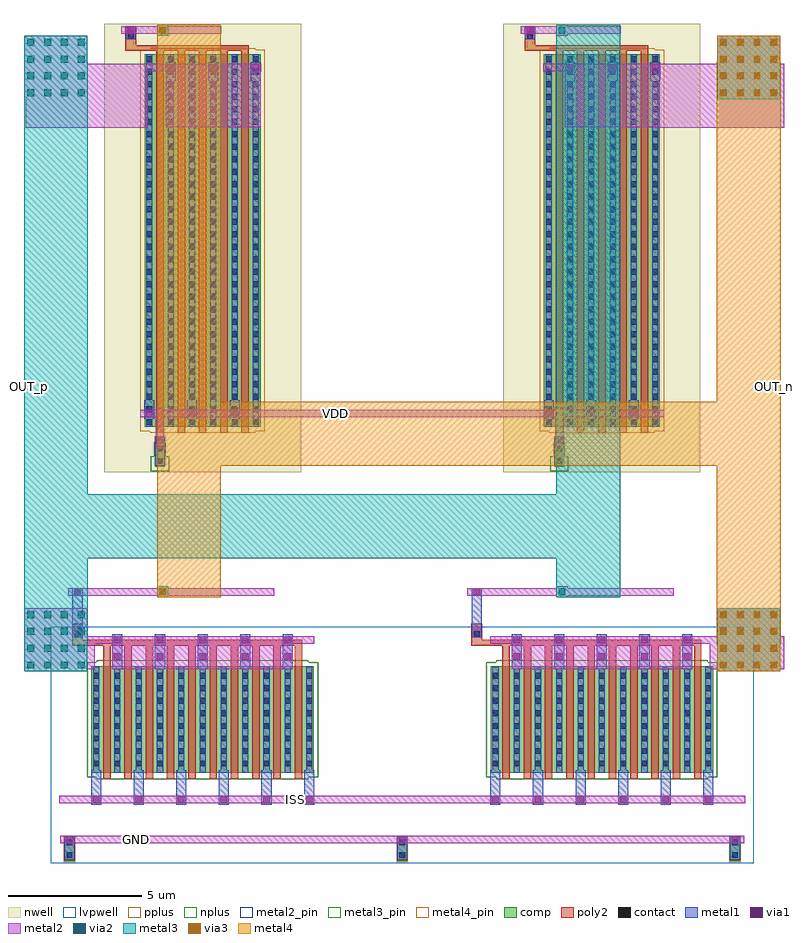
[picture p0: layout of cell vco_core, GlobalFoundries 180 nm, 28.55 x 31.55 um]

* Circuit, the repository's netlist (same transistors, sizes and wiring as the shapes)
.subckt vco_core VDD OUT_p OUT_n ISS GND
XM1 OUT_p OUT_n ISS GND nfet_03v3 L=0.28u W=40u nf=1
XM4 OUT_n OUT_p ISS GND nfet_03v3 L=0.28u W=40u nf=1
XM2 OUT_p OUT_n VDD VDD pfet_03v3 L=0.28u W=70u nf=1
XM3 OUT_n OUT_p VDD VDD pfet_03v3 L=0.28u W=70u nf=1
.ends

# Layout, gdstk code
import gdstk
lib = gdstk.Library(unit=1e-6, precision=1e-09)
def R(c, l, rs):  # rectangles x0, y0, x1, y1
    for r in rs: c.add(gdstk.rectangle(r[:2], r[2:], *l))
def A(c, l, x, y, w, h, nx, ny, dx, dy):  # array of equal rectangles
    R(c, l, [(x+i*dx, y+j*dy, x+i*dx+w, y+j*dy+h) for i in range(nx) for j in range(ny)])
nwell = (21, 0)
comp = (22, 0)
poly2 = (30, 0)
pplus = (31, 0)
nplus = (32, 0)
contact = (33, 0)
metal1 = (34, 0)
via1 = (35, 0)
metal2 = (36, 0)
metal2_pin = (36, 10)
via2 = (38, 0)
via3 = (40, 0)
metal3 = (42, 0)
metal3_pin = (42, 10)
metal4 = (46, 0)
metal4_pin = (46, 10)
lvpwell = (204, 0)

vco_core = lib.new_cell('vco_core')
R(vco_core, nwell, [(-3.7,9.3,3.7,26.15), (11.3,9.3,18.7,26.15)])
A(vco_core, comp, -5.18, -5.3, 0.36, 0.9, 3, 1, 12.5, 0)
R(vco_core, comp, [(-4.18,-2,4.18,2), (10.82,-2,19.18,2), (-1.78,9.5,-1.42,10.4), (13.22,9.5,13.58,10.4), (-2.18,11,2.18,25), (12.82,11,17.18,25)])
A(vco_core, poly2, -3.74, -2.22, 0.28, 5, 10, 1, 0.8, 0)
A(vco_core, poly2, 11.26, -2.22, 0.28, 5, 10, 1, 0.8, 0)
A(vco_core, poly2, -1.74, 10.78, 0.28, 14.34, 5, 1, 0.8, 0)
A(vco_core, poly2, 13.26, 10.78, 0.28, 14.34, 5, 1, 0.8, 0)
R(vco_core, poly2, [(-4.9,2.78,3.74,3), (10.1,2.78,18.74,3), (-4.9,3,-4.5,3.6), (10.1,3,10.5,3.6), (-2.9,25.12,1.74,25.34), (12.1,25.12,16.74,25.34), (-2.9,25.34,-2.5,26.04), (12.1,25.34,12.5,26.04)])
A(vco_core, pplus, -5.21, -5.33, 0.42, 0.96, 3, 1, 12.5, 0)
R(vco_core, pplus, [(-1.97,10.77,1.97,10.84), (13.03,10.77,16.97,10.84), (-2.34,10.84,2.34,25.16), (12.66,10.84,17.34,25.16), (-1.97,25.16,1.97,25.23), (13.03,25.16,16.97,25.23)])
R(vco_core, nplus, [(-3.97,-2.23,3.97,-2.16), (11.03,-2.23,18.97,-2.16), (-4.34,-2.16,4.34,2.16), (10.66,-2.16,19.34,2.16), (-3.97,2.16,3.97,2.23), (11.03,2.16,18.97,2.23), (-1.94,9.34,-1.26,9.89), (13.06,9.34,13.74,9.89), (-1.81,9.89,-1.39,10.43), (13.19,9.89,13.61,10.43)])
A(vco_core, contact, -5.11, -5.195, 0.22, 0.22, 3, 2, 12.5, 0.47)
A(vco_core, contact, -4.11, -1.755, 0.22, 0.22, 11, 8, 0.8, 0.47)
A(vco_core, contact, 10.89, -1.755, 0.22, 0.22, 11, 8, 0.8, 0.47)
A(vco_core, contact, -2.11, 11.075, 0.22, 0.22, 6, 30, 0.8, 0.47)
A(vco_core, contact, 12.89, 11.075, 0.22, 0.22, 6, 30, 0.8, 0.47)
R(vco_core, contact, [(-4.81,3.105,-4.59,3.325), (10.19,3.105,10.41,3.325), (-1.71,9.605,-1.49,9.825), (13.29,9.605,13.51,9.825), (-1.71,10.075,-1.49,10.295), (13.29,10.075,13.51,10.295), (-2.81,25.565,-2.59,25.785), (12.19,25.565,12.41,25.785)])
A(vco_core, metal1, -5.19, -5.265, 0.38, 0.905, 3, 1, 12.5, 0)
A(vco_core, metal1, -4.19, -3.2, 0.38, 1.3, 6, 1, 1.6, 0)
A(vco_core, metal1, 10.81, -3.2, 0.38, 1.3, 6, 1, 1.6, 0)
A(vco_core, metal1, -3.315, -1.99, 0.23, 3.89, 5, 1, 1.6, 0)
A(vco_core, metal1, 11.685, -1.99, 0.23, 3.89, 5, 1, 1.6, 0)
A(vco_core, metal1, -4.115, -1.9, 0.23, 3.89, 6, 1, 1.6, 0)
A(vco_core, metal1, 10.885, -1.9, 0.23, 3.89, 6, 1, 1.6, 0)
A(vco_core, metal1, -3.39, 1.9, 0.38, 1.3, 5, 1, 1.6, 0)
A(vco_core, metal1, 11.61, 1.9, 0.38, 1.3, 5, 1, 1.6, 0)
A(vco_core, metal1, -2.115, 11.01, 0.23, 0.29, 3, 1, 1.6, 0)
A(vco_core, metal1, -1.315, 11.01, 0.23, 12.99, 3, 1, 1.6, 0)
A(vco_core, metal1, 12.885, 11.01, 0.23, 0.29, 3, 1, 1.6, 0)
A(vco_core, metal1, 13.685, 11.01, 0.23, 12.99, 3, 1, 1.6, 0)
A(vco_core, metal1, -2.19, 11.3, 0.38, 0.7, 3, 1, 1.6, 0)
A(vco_core, metal1, 12.81, 11.3, 0.38, 0.7, 3, 1, 1.6, 0)
A(vco_core, metal1, -2.115, 12, 0.23, 12.99, 3, 1, 1.6, 0)
A(vco_core, metal1, 12.885, 12, 0.23, 12.99, 3, 1, 1.6, 0)
A(vco_core, metal1, -1.39, 24, 0.38, 0.7, 3, 1, 1.6, 0)
A(vco_core, metal1, 13.61, 24, 0.38, 0.7, 3, 1, 1.6, 0)
A(vco_core, metal1, -1.315, 24.7, 0.23, 0.29, 3, 1, 1.6, 0)
A(vco_core, metal1, 13.685, 24.7, 0.23, 0.29, 3, 1, 1.6, 0)
R(vco_core, metal1, [(-4.89,3.1,-4.51,4.94), (10.11,3.1,10.49,4.94), (-1.79,9.535,-1.41,10.64), (13.21,9.535,13.59,10.64), (-2.89,25.56,-2.51,26.04), (12.11,25.56,12.49,26.04)])
A(vco_core, via1, -5.13, -4.63, 0.26, 0.26, 3, 1, 12.5, 0)
A(vco_core, via1, -4.13, -3.13, 0.26, 0.26, 6, 1, 1.6, 0)
A(vco_core, via1, 10.87, -3.13, 0.26, 0.26, 6, 1, 1.6, 0)
A(vco_core, via1, -3.33, 2.24, 0.26, 0.26, 5, 2, 1.6, 0.63)
A(vco_core, via1, 11.67, 2.24, 0.26, 0.26, 5, 2, 1.6, 0.63)
A(vco_core, via1, -2.13, 11.37, 0.26, 0.26, 3, 1, 1.6, 0)
A(vco_core, via1, 12.87, 11.37, 0.26, 0.26, 3, 1, 1.6, 0)
A(vco_core, via1, -1.33, 24.37, 0.26, 0.26, 3, 1, 1.6, 0)
A(vco_core, via1, 13.67, 24.37, 0.26, 0.26, 3, 1, 1.6, 0)
R(vco_core, via1, [(-4.83,4.67,-4.57,4.93), (10.17,4.67,10.43,4.93), (-1.73,10.37,-1.47,10.63), (13.27,10.37,13.53,10.63), (-2.83,25.77,-2.57,26.03), (12.17,25.77,12.43,26.03)])
R(vco_core, metal2, [(-5.34,-4.64,20.34,-4.36), (-5.39,-3.14,20.39,-2.86), (-6.695,1.815,-4.325,1.9), (19.325,1.815,21.695,1.9), (-6.695,1.9,-4.06,2.86), (-3.39,1.9,3.39,2.86), (11.61,1.9,18.39,2.86), (19.06,1.9,21.84,2.86), (-6.695,2.86,4.2,3.14), (10.8,2.86,21.84,3.14), (-6.695,3.14,-4.325,4.185), (19.325,3.14,21.695,4.185), (-1.71,4.59,-1.29,4.66), (13.29,4.59,13.71,4.66), (-5.05,4.66,2.7,4.94), (9.95,4.66,17.7,4.94), (-1.71,4.94,-1.29,5.01), (13.29,4.94,13.71,5.01), (-1.76,10.19,-1.44,11.36), (13.24,10.19,13.56,11.36), (-2.34,11.36,17.34,11.64), (-1.76,11.64,-1.44,11.71), (13.24,11.64,13.56,11.71), (-6.64,22.24,-2.06,23.315), (17.06,22.24,21.84,22.25), (-1.39,22.25,2.19,24.36), (13.61,22.25,21.84,24.36), (-6.695,23.315,-2.06,24.36), (-6.695,24.36,2.2,24.64), (12.8,24.36,21.84,24.64), (-6.695,24.64,-4.325,25.685), (19.325,24.64,21.695,25.685), (-1.71,25.69,-1.29,25.76), (13.29,25.69,13.71,25.76), (-3.05,25.76,0.7,26.04), (11.95,25.76,15.7,26.04), (-1.71,26.04,-1.29,26.11), (13.29,26.04,13.71,26.11)])
R(vco_core, metal2_pin, [(-2.6,-4.64,-2.4,-4.36), (3.4,-3.14,3.6,-2.86), (4.9,11.36,5.1,11.64)])
A(vco_core, via2, -6.585, 1.925, 0.26, 0.26, 4, 4, 0.63, 0.63)
A(vco_core, via2, 19.435, 1.925, 0.26, 0.26, 4, 4, 0.63, 0.63)
A(vco_core, via2, -6.585, 23.425, 0.26, 0.26, 4, 4, 0.63, 0.63)
A(vco_core, via2, 19.435, 23.425, 0.26, 0.26, 4, 4, 0.63, 0.63)
R(vco_core, via2, [(-1.63,4.67,-1.37,4.93), (13.37,4.67,13.63,4.93), (-1.63,25.77,-1.37,26.03), (13.37,25.77,13.63,26.03)])
A(vco_core, via3, 19.435, 1.925, 0.26, 0.26, 4, 4, 0.63, 0.63)
A(vco_core, via3, 19.435, 23.425, 0.26, 0.26, 4, 4, 0.63, 0.63)
R(vco_core, via3, [(-1.63,4.67,-1.37,4.93), (-1.63,25.77,-1.37,26.03)])
R(vco_core, metal3, [(-6.695,1.815,-4.325,2.79), (19.325,1.815,21.695,4.185), (-6.71,2.79,-4.31,6.06), (-1.71,4.59,-1.29,5.01), (13.29,4.59,15.69,6.06), (-6.71,6.06,15.69,8.46), (-6.71,8.46,-4.31,24.71), (13.29,8.46,15.69,26.11), (19.325,23.315,21.695,25.685), (-6.695,24.71,-4.325,25.685), (-1.71,25.69,-1.29,26.11)])
R(vco_core, metal3_pin, [(-6.6,12.4,-6.4,12.6)])
R(vco_core, metal4, [(19.325,1.815,21.695,2.79), (19.31,2.79,21.71,9.54), (-1.71,4.59,0.69,9.54), (-1.71,9.54,21.71,11.94), (-1.71,11.94,0.69,26.11), (19.31,11.94,21.71,24.71), (19.325,24.71,21.695,25.685)])
R(vco_core, metal4_pin, [(21.4,12.4,21.6,12.6)])
R(vco_core, lvpwell, [(-5.7,-5.4,20.7,3.5)])
vco_core.add(gdstk.Label('ISS', (3.5,-3), layer=36, texttype=10))
vco_core.add(gdstk.Label('VDD', (5,11.5), layer=36, texttype=10))
vco_core.add(gdstk.Label('OUT_p', (-6.5,12.5), layer=42, texttype=10))
vco_core.add(gdstk.Label('OUT_n', (21.5,12.5), layer=46, texttype=10))
vco_core.add(gdstk.Label('GND', (-2.5,-4.5), layer=36, texttype=10))

lib.write_gds('vco_core.gds')
